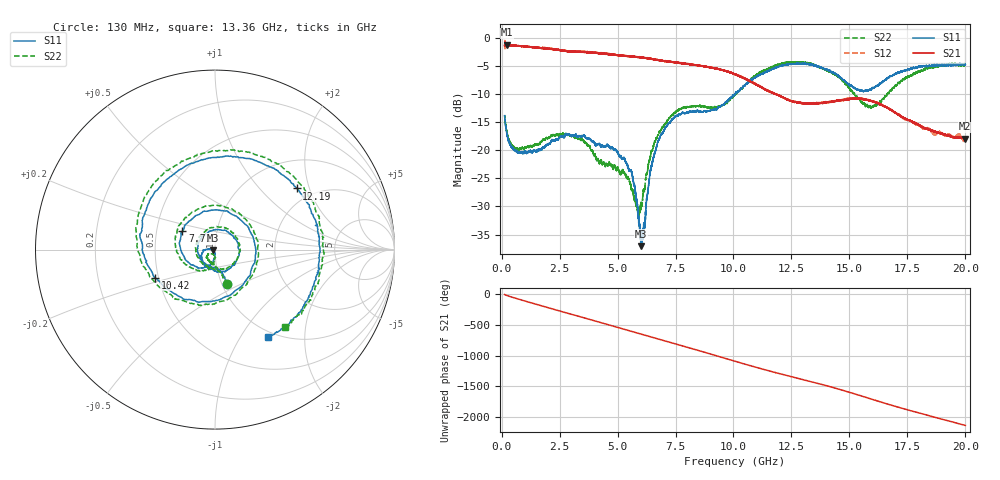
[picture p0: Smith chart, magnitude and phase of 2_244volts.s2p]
!Created with skrf (http://scikit-rf.org).
# GHz S RI R 50.0
!freq ReS11 ImS11 ReS21 ImS21 ReS12 ImS12 ReS22 ImS22
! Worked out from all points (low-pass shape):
!   20013 points, 130 MHz to 20 GHz, reference 50 ohm
!   highest |S21| = -1.27 dB at 225 MHz (marker M1); lowest = -18.0 dB at 20 GHz (marker M2)
!   |S21| within 3 dB of the highest: start of sweep to 7.049 GHz; 7.049 GHz to 7.118 GHz (68.71 MHz wide, 0.97 % of centre)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
!   lowest |S11| = -37.1 dB at 6.002 GHz (marker M3), VSWR 1.03, Z = 48.7 - j0.336 ohm
!   |S11| at or under -10 dB: start of sweep to 10.07 GHz
!   |S22| runs from -31.9 to -4.3 dB; largest |S21 - S12| = 0.096
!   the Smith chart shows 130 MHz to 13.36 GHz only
!   S11 on the Smith chart (normalised r, x): 130 MHz: 1.06, -0.42; 7.71 GHz: 0.68, +0.15; 10.42 GHz: 0.48, -0.17; 12.19 GHz: 1.64, +1.65; 13.36 GHz: 0.92, -1.33
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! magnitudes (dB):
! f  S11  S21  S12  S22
! 130 MHz  -13.9  -1.4  -1.7  -13.8
! 225 MHz  -17.1  -1.3  -1.3  -16.9
! 875 MHz  -20.3  -1.5  -1.6  -19.6
! 2.306 GHz  -18.2  -2.1  -2.1  -17.5
! 3.442 GHz  -17.6  -2.5  -2.5  -18.2
! 5.335 GHz  -21.9  -3.3  -3.2  -24.4
! 5.668 GHz  -25.4  -3.4  -3.3  -27.6
! 6.002 GHz  -37.1  -3.5  -3.5  -29.7
! 6.102 GHz  -34.5  -3.6  -3.6  -27.5
! 6.429 GHz  -23.6  -3.8  -3.8  -20.8
! 6.754 GHz  -18.3  -4.0  -4.0  -17.3
! 7.71 GHz  -13.6  -4.5  -4.5  -12.6
! 10.06 GHz  -10.0  -6.5  -6.5  -10.2
! 10.42 GHz  -8.6  -7.1  -7.1  -8.8
! 12.19 GHz  -4.9  -10.7  -10.7  -4.5
! 13.36 GHz  -4.9  -11.7  -11.6  -4.7
! 13.38 GHz  -4.8  -11.8  -11.7  -4.7
! 15.77 GHz  -9.4  -11.1  -11.0  -12.0
! 16.69 GHz  -7.1  -12.5  -12.6  -9.9
! 18.37 GHz  -5.1  -16.2  -16.1  -5.5
! 20 GHz  -4.7  -18.0  -18.1  -4.8
! 20 GHz  -4.8  -17.9  -18.1  -4.8
